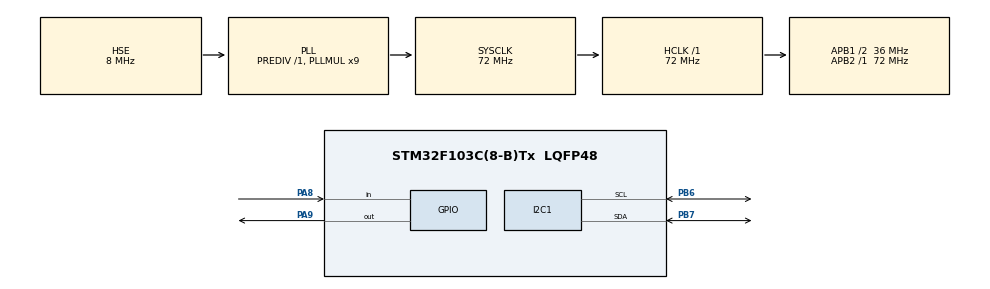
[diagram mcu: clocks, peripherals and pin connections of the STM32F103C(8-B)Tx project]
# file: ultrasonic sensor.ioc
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I2C1.I2C_Mode=I2C_Fast
Mcu.Family=STM32F1
Mcu.Name=STM32F103C(8-B)Tx
Mcu.Package=LQFP48
NVIC.PriorityGroup=NVIC_PRIORITYGROUP_4
PA13.Mode=Serial_Wire
PA13.Signal=SYS_JTMS-SWDIO
PA14.Mode=Serial_Wire
PA14.Signal=SYS_JTCK-SWCLK
PA8.Signal=GPIO_Input
PA9.Signal=GPIO_Output
PB6.Mode=I2C
PB6.Signal=I2C1_SCL
PB7.Mode=I2C
PB7.Signal=I2C1_SDA
PD0-OSC_IN.Mode=HSE-External-Oscillator
PD0-OSC_IN.Signal=RCC_OSC_IN
PD1-OSC_OUT.Mode=HSE-External-Oscillator
PD1-OSC_OUT.Signal=RCC_OSC_OUT
ProjectManager.HeapSize=0x200
ProjectManager.StackSize=0x400
ProjectManager.TargetToolchain=STM32CubeIDE
RCC.AHBFreq_Value=72000000
RCC.APB1CLKDivider=RCC_HCLK_DIV2
RCC.APB1Freq_Value=36000000
RCC.APB1TimFreq_Value=72000000
RCC.APB2Freq_Value=72000000
RCC.APB2TimFreq_Value=72000000
RCC.HCLKFreq_Value=72000000
RCC.PLLMUL=RCC_PLL_MUL9
RCC.PLLSourceVirtual=RCC_PLLSOURCE_HSE
RCC.SYSCLKFreq_VALUE=72000000
RCC.SYSCLKSource=RCC_SYSCLKSOURCE_PLLCLK
RCC.USBFreq_Value=72000000
TIM1.Prescaler=71
VP_TIM1_VS_ClockSourceINT.Mode=Internal
board=custom

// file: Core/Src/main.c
/* USER CODE BEGIN Header */
/**
  ******************************************************************************
  * @file           : main.c
  * @brief          : Main program body
  ******************************************************************************
  * @attention
  *
  * Copyright (c) 2025 STMicroelectronics.
  * All rights reserved.
  *
  * This software is licensed under terms that can be found in the LICENSE file
  * in the root directory of this software component.
  * If no LICENSE file comes with this software, it is provided AS-IS.
  *
  ******************************************************************************
  */
/* USER CODE END Header */
#include "main.h"

/* USER CODE BEGIN Includes */
#include "fonts.h"
#include "ssd1306.h"
#include "stdio.h"
/* USER CODE END Includes */

I2C_HandleTypeDef hi2c1;

TIM_HandleTypeDef htim1;

/* USER CODE BEGIN PV */
#define TRIG_PIN GPIO_PIN_9
#define TRIG_PORT GPIOA
#define ECHO_PIN GPIO_PIN_8
#define ECHO_PORT GPIOA
uint32_t pMillis;
uint32_t Value1 = 0;
uint32_t Value2 = 0;
uint16_t Distance  = 0;  // cm
char strCopy[15];
uint16_t readValue;
/* USER CODE END PV */

void SystemClock_Config(void);
static void MX_GPIO_Init(void);
static void MX_I2C1_Init(void);
static void MX_TIM1_Init(void);

int main(void)
{

  /* MCU Configuration--------------------------------------------------------*/

  /* Reset of all peripherals, Initializes the Flash interface and the Systick. */
  HAL_Init();

  /* Configure the system clock */
  SystemClock_Config();

  /* Initialize all configured peripherals */
  MX_GPIO_Init();
  MX_I2C1_Init();
  MX_TIM1_Init();
  /* USER CODE BEGIN 2 */
  HAL_TIM_Base_Start(&htim1);
   HAL_GPIO_WritePin(TRIG_PORT, TRIG_PIN, GPIO_PIN_RESET);  // pull the TRIG pin low
   SSD1306_Init();
  /* USER CODE END 2 */

  /* Infinite loop */
  while (1)
  {
	  HAL_GPIO_WritePin(TRIG_PORT, TRIG_PIN, GPIO_PIN_SET);  // pull the TRIG pin HIGH
	      __HAL_TIM_SET_COUNTER(&htim1, 0);
	      while (__HAL_TIM_GET_COUNTER (&htim1) < 10);  // wait for 10 us
	      HAL_GPIO_WritePin(TRIG_PORT, TRIG_PIN, GPIO_PIN_RESET);  // pull the TRIG pin low

	      pMillis = HAL_GetTick(); // used this to avoid infinite while loop  (for timeout)
	      // wait for the echo pin to go high
	      while (!(HAL_GPIO_ReadPin (ECHO_PORT, ECHO_PIN)) && pMillis + 10 >  HAL_GetTick());
	      Value1 = __HAL_TIM_GET_COUNTER (&htim1);

	      pMillis = HAL_GetTick(); // used this to avoid infinite while loop (for timeout)
	      // wait for the echo pin to go low
	      while ((HAL_GPIO_ReadPin (ECHO_PORT, ECHO_PIN)) && pMillis + 50 > HAL_GetTick());
	      Value2 = __HAL_TIM_GET_COUNTER (&htim1);

	      Distance = (Value2-Value1)* 0.034/2;

	      SSD1306_GotoXY (0, 0);
	      SSD1306_Puts ("Distance:", &Font_11x18, 1);
	      sprintf(strCopy,"%d    ", Distance);
	      SSD1306_GotoXY (0, 30);
	      SSD1306_Puts (strCopy, &Font_16x26, 1);
	      SSD1306_UpdateScreen();
	      HAL_Delay(50);
  }
}

void SystemClock_Config(void)
{
  RCC_OscInitTypeDef RCC_OscInitStruct = {0};
  RCC_ClkInitTypeDef RCC_ClkInitStruct = {0};

  /** Initializes the RCC Oscillators according to the specified parameters
  * in the RCC_OscInitTypeDef structure.
  */
  RCC_OscInitStruct.OscillatorType = RCC_OSCILLATORTYPE_HSE;
  RCC_OscInitStruct.HSEState = RCC_HSE_ON;
  RCC_OscInitStruct.HSEPredivValue = RCC_HSE_PREDIV_DIV1;
  RCC_OscInitStruct.HSIState = RCC_HSI_ON;
  RCC_OscInitStruct.PLL.PLLState = RCC_PLL_ON;
  RCC_OscInitStruct.PLL.PLLSource = RCC_PLLSOURCE_HSE;
  RCC_OscInitStruct.PLL.PLLMUL = RCC_PLL_MUL9;
  if (HAL_RCC_OscConfig(&RCC_OscInitStruct) != HAL_OK)
  {
    Error_Handler();
  }

  /** Initializes the CPU, AHB and APB buses clocks
  */
  RCC_ClkInitStruct.ClockType = RCC_CLOCKTYPE_HCLK|RCC_CLOCKTYPE_SYSCLK
                              |RCC_CLOCKTYPE_PCLK1|RCC_CLOCKTYPE_PCLK2;
  RCC_ClkInitStruct.SYSCLKSource = RCC_SYSCLKSOURCE_PLLCLK;
  RCC_ClkInitStruct.AHBCLKDivider = RCC_SYSCLK_DIV1;
  RCC_ClkInitStruct.APB1CLKDivider = RCC_HCLK_DIV2;
  RCC_ClkInitStruct.APB2CLKDivider = RCC_HCLK_DIV1;

  if (HAL_RCC_ClockConfig(&RCC_ClkInitStruct, FLASH_LATENCY_2) != HAL_OK)
  {
    Error_Handler();
  }
}

static void MX_I2C1_Init(void)
{

  hi2c1.Instance = I2C1;
  hi2c1.Init.ClockSpeed = 400000;
  hi2c1.Init.DutyCycle = I2C_DUTYCYCLE_2;
  hi2c1.Init.OwnAddress1 = 0;
  hi2c1.Init.AddressingMode = I2C_ADDRESSINGMODE_7BIT;
  hi2c1.Init.DualAddressMode = I2C_DUALADDRESS_DISABLE;
  hi2c1.Init.OwnAddress2 = 0;
  hi2c1.Init.GeneralCallMode = I2C_GENERALCALL_DISABLE;
  hi2c1.Init.NoStretchMode = I2C_NOSTRETCH_DISABLE;
  if (HAL_I2C_Init(&hi2c1) != HAL_OK)
  {
    Error_Handler();
  }

}

static void MX_TIM1_Init(void)
{

  TIM_ClockConfigTypeDef sClockSourceConfig = {0};
  TIM_MasterConfigTypeDef sMasterConfig = {0};

  htim1.Instance = TIM1;
  htim1.Init.Prescaler = 71;
  htim1.Init.CounterMode = TIM_COUNTERMODE_UP;
  htim1.Init.Period = 65535;
  htim1.Init.ClockDivision = TIM_CLOCKDIVISION_DIV1;
  htim1.Init.RepetitionCounter = 0;
  htim1.Init.AutoReloadPreload = TIM_AUTORELOAD_PRELOAD_DISABLE;
  if (HAL_TIM_Base_Init(&htim1) != HAL_OK)
  {
    Error_Handler();
  }
  sClockSourceConfig.ClockSource = TIM_CLOCKSOURCE_INTERNAL;
  if (HAL_TIM_ConfigClockSource(&htim1, &sClockSourceConfig) != HAL_OK)
  {
    Error_Handler();
  }
  sMasterConfig.MasterOutputTrigger = TIM_TRGO_RESET;
  sMasterConfig.MasterSlaveMode = TIM_MASTERSLAVEMODE_DISABLE;
  if (HAL_TIMEx_MasterConfigSynchronization(&htim1, &sMasterConfig) != HAL_OK)
  {
    Error_Handler();
  }

}

static void MX_GPIO_Init(void)
{
  GPIO_InitTypeDef GPIO_InitStruct = {0};

  /* GPIO Ports Clock Enable */
  __HAL_RCC_GPIOD_CLK_ENABLE();
  __HAL_RCC_GPIOA_CLK_ENABLE();
  __HAL_RCC_GPIOB_CLK_ENABLE();

  /*Configure GPIO pin Output Level */
  HAL_GPIO_WritePin(GPIOA, GPIO_PIN_9, GPIO_PIN_RESET);

  /*Configure GPIO pin : PA8 */
  GPIO_InitStruct.Pin = GPIO_PIN_8;
  GPIO_InitStruct.Mode = GPIO_MODE_INPUT;
  GPIO_InitStruct.Pull = GPIO_NOPULL;
  HAL_GPIO_Init(GPIOA, &GPIO_InitStruct);

  /*Configure GPIO pin : PA9 */
  GPIO_InitStruct.Pin = GPIO_PIN_9;
  GPIO_InitStruct.Mode = GPIO_MODE_OUTPUT_PP;
  GPIO_InitStruct.Pull = GPIO_NOPULL;
  GPIO_InitStruct.Speed = GPIO_SPEED_FREQ_LOW;
  HAL_GPIO_Init(GPIOA, &GPIO_InitStruct);

}

void Error_Handler(void)
{
  __disable_irq();
  while (1)
  {
  }
}
